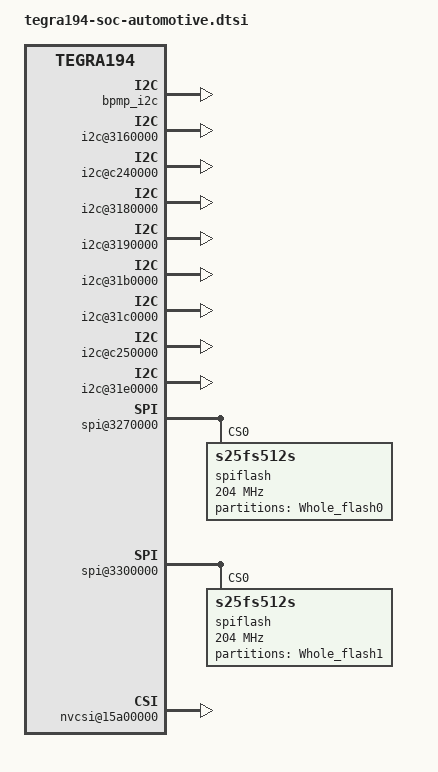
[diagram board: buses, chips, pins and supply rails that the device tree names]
/*
 * tegra194-soc-automotive.dtsi: Automotive based platform common SoC specific
 *				 DTSI file with required node enabled.
 *
 * Copyright (c) 2017-2018, NVIDIA CORPORATION.  All rights reserved.
 *
 * This program is free software; you can redistribute it and/or modify
 * it under the terms of the GNU General Public License as published by
 * the Free Software Foundation; version 2 of the License.
 *
 * This program is distributed in the hope that it will be useful, but WITHOUT
 * ANY WARRANTY; without even the implied warranty of MERCHANTABILITY or
 * FITNESS FOR A PARTICULAR PURPOSE.  See the GNU General Public License for
 * more details.
 */

#include <tegra194-soc/tegra194-soc-base.dtsi>
#include <tegra194-soc/tegra194-cpus.dtsi>
#include <tegra194-soc/mods-simple-bus.dtsi>
#include <tegra194-soc/tegra194-soc-prod.dtsi>

/ {
	tegra-carveouts {
		status = "okay";
	};

	timer {
		status = "okay";
	};

	mc {
		status = "okay";
	};

	interrupt-controller {
		status = "okay";
	};

	interrupt-controller@3881000 {
		status = "okay";
	};

	power-domain {
		status = "okay";
	};

	clock@0 {
	        status = "okay";
	};

	bpmp_reset@0 {
	        status = "okay";
	};

	bpmp {
	        status = "okay";
		bpmpthermal {
			status = "okay";
		};
	};

	gv11b {
	        status = "okay";
	};

	pinmux@2430000 {
		status = "okay";
	};

	/* Tegra main GPIO */
	gpio@2200000 {
		status = "okay";
	};

	/* Tegra AON GPIO */
	gpio@c2f0000 {
		status = "okay";
	};

	/* BPMP I2c for PMIC acess */
	bpmp_i2c {
		status = "okay";
	};

	efuse@3820000 {
		status = "okay";
		efuse-burn {
			status = "okay";
		};
	};

	kfuse@3830000 {
		status = "okay";
	};

	/* Wake irq support */
	tegra194-pm-irq {
		status = "okay";
	};

	i2c@3160000 { /* GEN1_I2C */
		status = "okay";
	};

	i2c@c240000 { /* GEN2_I2C */
		status = "okay";
	};

	i2c@3180000 { /* CAM_I2C */
		status = "okay";
	};

	i2c@3190000 { /* DP_AUX_CH1_I2C */
		status = "okay";
	};

	i2c@31b0000 { /* DP_AUX_CH0_I2C */
		status = "okay";
	};

	i2c@31c0000 { /* DP_AUX_CH2_I2C */
		status = "okay";
	};

	i2c@c250000 { /* GEN8_I2C */
		status = "okay";
	};

	i2c@31e0000 { /* DP_AUX_CH3_I2C */
		status = "okay";
	};

	spi@3270000 { /* QSPI0 */
		status = "okay";
		spiflash@0 {
			#address-cells = <1>;
			#size-cells = <1>;
			compatible = "s25fs512s";
			reg = <0>;
			spi-max-frequency = <204000000>;
			partition@0 {
				label = "Whole_flash0";
				reg = <0x00000000 0x4000000>;
			};
			controller-data {
				nvidia,x1-len-limit = <16>;
				nvidia,x1-bus-speed = <102000000>; /* In MHz */
				nvidia,x1-dymmy-cycle = <8>;
				nvidia,x4-bus-speed = <102000000>;
				nvidia,x4-dymmy-cycle = <8>;
				nvidia,x4-is-ddr=<1>;
				nvidia,ctrl-bus-clk-ratio = <2>;
			};
		};
	};

	spi@3300000 { /* QSPI1 */
		status = "okay";
		spiflash@0 {
			#address-cells = <1>;
			#size-cells = <1>;
			compatible = "s25fs512s";
			reg = <0>;
			spi-max-frequency = <204000000>;
			partition@0 {
				label = "Whole_flash1";
				reg = <0x00000000 0x4000000>;
			};
			controller-data {
				nvidia,x1-len-limit = <16>;
				nvidia,x1-bus-speed = <102000000>; /* In MHz */
				nvidia,x1-dymmy-cycle = <8>;
				nvidia,x4-bus-speed = <102000000>;
				nvidia,x4-dymmy-cycle = <8>;
				nvidia,x4-is-ddr=<1>;
				nvidia,ctrl-bus-clk-ratio = <2>;
			};
		};
	};

	/* SDMMC4 */
	sdhci@3460000 {
		nvidia,disable-rtpm;
	};

	/* SDMMC3 */
	sdhci@3440000 {
		nvidia,disable-rtpm;
	};

	/* SDMMC1 */
	sdhci@3400000 {
		nvidia,disable-rtpm;
	};

	/* L3 cache */
	tegra-cache {
		status = "okay";
	};

	reserved-memory {
		grid-of-semaphores {
			status = "okay";
		};
	};

	tegra-cvnas {
		status = "okay";
	};

	mc_sid@2c00000 {
		status = "okay";
	};

	iommu@12000000 {
		status = "okay";
	};

	tegra-hsp@c150000 {
		status = "okay";
	};

	tegra-hsp@3c00000 {
		status = "okay";
	};

	tegra-hsp@b950000 {
		status = "okay";
	};

	host1x {
		ctx0 {
			status = "okay";
		};

		ctx1 {
			status = "okay";
		};

		ctx2 {
			status = "okay";
		};

		ctx3 {
			status = "okay";
		};

		ctx4 {
			status = "okay";
		};

		ctx5 {
			status = "okay";
		};

		ctx6 {
			status = "okay";
		};

		ctx7 {
			status = "okay";
		};

		nvcsi@15a00000 {
			status = "okay";
		};

		tsec@15500000 {
			status = "disabled";
		};

		tsecb@15100000 {
			status = "disabled";
		};
	};

	psci {
		status = "okay";
	};

	cpufreq {
		status = "okay";
	};

	ufshci@2450000 {
		nvidia,enable-wlu-scsi-device-add;
	};

	pmc@c360000 {
		status = "okay";
		/*export: SCRATCH_99*/
		export-pmc-scratch-reg-offset = <0x568>;
		export-pmc-scratch-reg-name = "boot-chain-type";
	};

	se_elp@3ad0000 {
		status = "okay";
	};

	host1x {
		se@15810000 {
			status="okay";
		};

		se@15820000 {
			status="okay";
		};

		se@15830000 {
			status="okay";
		};

		se@15840000 {
			status="okay";
		};
	};
};
